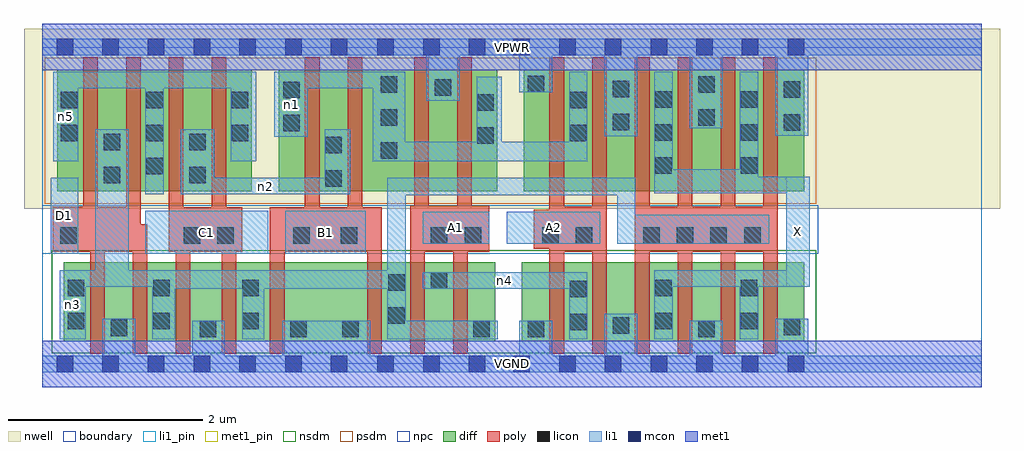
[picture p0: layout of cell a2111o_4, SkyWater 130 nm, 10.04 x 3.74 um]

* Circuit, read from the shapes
.subckt a2111o_4 A1 A2 B1 C1 D1 VGND VPWR X n1 n2 n3 n4 n5
XM1 VGND D1 n3 VSUBS sky130_fd_pr__nfet_01v8 w=0.81 l=0.15 m=2
XM2 VGND C1 n3 VSUBS sky130_fd_pr__nfet_01v8 w=0.81 l=0.15 m=2
XM3 VGND B1 n3 VSUBS sky130_fd_pr__nfet_01v8 w=0.81 l=0.15 m=2
XM4 n4 A1 n3 VSUBS sky130_fd_pr__nfet_01v8 w=0.81 l=0.15 m=2
XM5 n4 A2 VGND VSUBS sky130_fd_pr__nfet_01v8 w=0.81 l=0.15 m=2
XM6 X n3 VGND VSUBS sky130_fd_pr__nfet_01v8 w=0.81 l=0.15 m=4
XM7 n3 D1 n5 n6 sky130_fd_pr__pfet_01v8 w=1.25 l=0.15 m=2
XM8 n2 C1 n5 n6 sky130_fd_pr__pfet_01v8 w=1.25 l=0.15 m=2
XM9 n2 B1 n1 n6 sky130_fd_pr__pfet_01v8 w=1.25 l=0.15 m=2
XM10 VPWR A1 n1 n6 sky130_fd_pr__pfet_01v8 w=1.25 l=0.15 m=2
XM11 n1 A2 VPWR n6 sky130_fd_pr__pfet_01v8 w=1.25 l=0.15 m=2
XM12 X n3 VPWR n6 sky130_fd_pr__pfet_01v8 w=1.25 l=0.15 m=4
.ends

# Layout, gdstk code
import gdstk
lib = gdstk.Library(unit=1e-6, precision=1e-09)
def R(c, l, rs):  # rectangles x0, y0, x1, y1
    for r in rs: c.add(gdstk.rectangle(r[:2], r[2:], *l))
def A(c, l, x, y, w, h, nx, ny, dx, dy):  # array of equal rectangles
    R(c, l, [(x+i*dx, y+j*dy, x+i*dx+w, y+j*dy+h) for i in range(nx) for j in range(ny)])
nwell = (64, 20)
diff = (65, 20)
poly = (66, 20)
licon = (66, 44)
li1_pin = (67, 16)
li1 = (67, 20)
mcon = (67, 44)
met1_pin = (68, 16)
met1 = (68, 20)
nsdm = (93, 44)
psdm = (94, 20)
npc = (95, 20)
boundary = (235, 4)

a2111o_4 = lib.new_cell('a2111o_4')
R(a2111o_4, nwell, [(-0.19,1.595,9.85,3.45), (0,1.595,9.66,3.45)])
R(a2111o_4, diff, [(0.22,0.235,4.66,1.045), (4.93,0.235,7.835,1.045), (0.15,1.775,2.155,3.025), (2.43,1.775,4.68,3.025), (4.95,1.775,7.835,3.025)])
A(a2111o_4, poly, 5.215, 0.105, 0.15, 3.05, 6, 1, 0.44, 0)
A(a2111o_4, poly, 0.42, 1.155, 0.15, 2, 4, 1, 0.44, 0)
R(a2111o_4, poly, [(0.49,0.105,0.64,1.615), (0.93,0.105,1.08,1.435), (1.37,0.105,1.52,1.61), (1.845,0.105,1.995,1.61), (2.34,0.105,2.49,1.61), (3.34,0.105,3.49,1.61), (3.785,0.105,3.935,1.625), (4.225,0.105,4.375,1.625), (0.105,1.155,1.01,1.615), (1.3,1.155,2.055,1.61), (2.34,1.155,3.49,1.61), (2.7,1.155,2.85,3.155), (3.14,1.155,3.29,3.155), (3.785,1.155,4.595,1.625), (3.825,1.155,3.975,3.155), (4.265,1.155,4.415,3.155), (5.215,1.155,5.805,1.615), (6.095,1.155,7.565,1.615), (5.055,1.185,5.805,1.585)])
A(a2111o_4, licon, 6.18, 1.235, 0.17, 0.17, 3, 1, 0.345, 0)
A(a2111o_4, licon, 1.07, 1.95, 0.17, 0.17, 1, 3, 0, 0.34)
A(a2111o_4, licon, 6.305, 1.955, 0.17, 0.17, 1, 3, 0, 0.34)
A(a2111o_4, licon, 7.185, 1.955, 0.17, 0.17, 1, 3, 0, 0.34)
A(a2111o_4, licon, 3.48, 2.11, 0.17, 0.17, 1, 3, 0, 0.34)
R(a2111o_4, licon, [(1.62,0.275,1.79,0.445), (2.55,0.275,2.72,0.445), (3.085,0.275,3.255,0.445), (4.43,0.275,4.6,0.445), (4.99,0.275,5.16,0.445), (6.745,0.275,6.915,0.445), (0.7,0.285,0.87,0.455), (7.625,0.295,7.795,0.465), (5.865,0.31,6.035,0.48), (5.425,0.345,5.595,0.515), (0.26,0.355,0.43,0.525), (1.14,0.355,1.31,0.525), (2.055,0.355,2.225,0.525), (6.305,0.355,6.475,0.525), (7.185,0.355,7.355,0.525), (3.555,0.415,3.725,0.585), (5.425,0.685,5.595,0.855), (0.26,0.695,0.43,0.865), (1.14,0.695,1.31,0.865), (2.055,0.695,2.225,0.865), (6.305,0.695,6.475,0.865), (7.185,0.695,7.355,0.865), (3.555,0.755,3.725,0.925), (3.995,0.775,4.165,0.945), (0.185,1.235,0.355,1.405), (1.455,1.235,1.625,1.405), (1.8,1.235,1.97,1.405), (2.58,1.235,2.75,1.405), (3.07,1.235,3.24,1.405), (3.995,1.235,4.165,1.405), (4.345,1.235,4.515,1.405), (5.14,1.235,5.31,1.405), (5.485,1.235,5.655,1.405), (7.22,1.235,7.39,1.405), (2.91,1.825,3.08,1.995), (0.63,1.86,0.8,2.03), (1.51,1.86,1.68,2.03), (2.91,2.165,3.08,2.335), (0.63,2.2,0.8,2.37), (1.51,2.2,1.68,2.37), (4.47,2.265,4.64,2.435), (0.19,2.29,0.36,2.46), (1.945,2.29,2.115,2.46), (5.425,2.29,5.595,2.46), (2.475,2.395,2.645,2.565), (7.625,2.4,7.795,2.57), (5.865,2.405,6.035,2.575), (6.745,2.45,6.915,2.62), (4.47,2.605,4.64,2.775), (0.19,2.63,0.36,2.8), (1.945,2.63,2.115,2.8), (5.425,2.63,5.595,2.8), (2.475,2.735,2.645,2.905), (7.625,2.74,7.795,2.91), (5.865,2.745,6.035,2.915), (4.035,2.76,4.205,2.93), (6.745,2.79,6.915,2.96), (4.99,2.795,5.16,2.965)])
R(a2111o_4, li1_pin, [(7.65,0.795,7.895,1.925), (0.085,1.135,0.37,1.915), (1.055,1.135,2.32,1.575), (2.5,1.135,3.325,1.575), (3.91,1.235,4.595,1.565), (4.775,1.235,5.74,1.565)])
R(a2111o_4, li1, [(0,-0.085,9.66,0.085), (0.615,-0.085,0.955,0.465), (1.54,-0.085,1.875,0.445), (2.465,-0.085,3.37,0.445), (4.905,-0.085,5.245,0.445), (5.78,-0.085,6.12,0.515), (6.66,-0.085,7,0.445), (7.54,-0.085,7.875,0.465), (0.18,0.255,0.445,0.965), (1.13,0.255,1.365,0.965), (2.055,0.255,2.28,0.965), (3.545,0.255,4.685,0.445), (3.545,0.255,3.735,1.915), (5.42,0.255,5.605,0.945), (6.295,0.255,6.485,0.965), (7.175,0.255,7.365,0.965), (1.13,0.775,3.735,0.965), (3.91,0.775,5.605,0.945), (0.18,0.795,3.735,0.965), (0.545,0.795,0.885,2.415), (6.295,0.795,7.895,0.965), (7.65,0.795,7.895,1.925), (0.085,1.135,0.37,1.915), (1.055,1.135,2.32,1.575), (2.5,1.135,3.325,1.575), (3.91,1.235,4.595,1.565), (4.775,1.235,5.74,1.565), (5.915,1.235,7.475,1.535), (5.915,1.235,6.1,1.915), (3.545,1.735,6.1,1.915), (1.055,1.745,1.25,3.005), (1.425,1.745,3.165,1.915), (1.425,1.745,1.765,2.415), (2.905,1.745,3.165,2.415), (6.295,1.755,7.895,1.925), (6.295,1.755,6.485,3.005), (6.295,1.755,7.365,2.005), (7.175,1.755,7.365,3.005), (0.11,2.085,0.37,3.005), (1.935,2.085,2.2,3.005), (3.395,2.085,5.605,2.285), (3.395,2.085,3.73,3.005), (4.465,2.085,4.725,2.955), (5.42,2.085,5.605,3.005), (2.385,2.335,2.73,3.005), (5.78,2.34,6.12,3.345), (7.54,2.345,7.875,3.345), (6.66,2.425,7,3.345), (3.95,2.705,4.29,3.345), (4.905,2.795,5.245,3.345), (0.11,2.835,2.2,3.005), (2.385,2.835,3.73,3.005), (0,3.175,9.66,3.345)])
A(a2111o_4, mcon, 0.145, -0.085, 0.17, 0.17, 7, 2, 0.47, 3.26)
A(a2111o_4, mcon, 3.445, -0.085, 0.17, 0.17, 3, 2, 0.47, 3.26)
A(a2111o_4, mcon, 4.845, -0.085, 0.17, 0.17, 7, 2, 0.47, 3.26)
R(a2111o_4, met1_pin, [(0,-0.24,9.66,0.24), (0,3.02,9.66,3.5)])
R(a2111o_4, met1, [(0,-0.24,9.66,0.24), (0,3.02,9.66,3.5)])
R(a2111o_4, nsdm, [(0.095,0.11,7.96,1.17)])
R(a2111o_4, psdm, [(0.025,1.65,7.96,3.15)])
R(a2111o_4, npc, [(0,1.135,7.98,1.635)])
R(a2111o_4, boundary, [(0,0,9.66,3.26)])
a2111o_4.add(gdstk.Label('A1', (4.252,1.4), layer=67, texttype=5))
a2111o_4.add(gdstk.Label('A2', (5.257,1.4), layer=67, texttype=5))
a2111o_4.add(gdstk.Label('B1', (2.912,1.355), layer=67, texttype=5))
a2111o_4.add(gdstk.Label('C1', (1.687,1.355), layer=67, texttype=5))
a2111o_4.add(gdstk.Label('D1', (0.227,1.525), layer=67, texttype=5))
a2111o_4.add(gdstk.Label('X', (7.772,1.36), layer=67, texttype=5))
a2111o_4.add(gdstk.Label('n4', (4.757,0.86), layer=67, texttype=5))
a2111o_4.add(gdstk.Label('n3', (0.312,0.61), layer=67, texttype=5))
a2111o_4.add(gdstk.Label('n2', (2.295,1.83), layer=67, texttype=5))
a2111o_4.add(gdstk.Label('n5', (0.24,2.545), layer=67, texttype=5))
a2111o_4.add(gdstk.Label('n1', (2.557,2.67), layer=67, texttype=5))
a2111o_4.add(gdstk.Label('VPWR', (4.83,3.26), layer=68, texttype=5))
a2111o_4.add(gdstk.Label('VGND', (4.83,0), layer=68, texttype=5))
a2111o_4.add(gdstk.Label('A1', (4.252,1.4), layer=67, texttype=16))
a2111o_4.add(gdstk.Label('A2', (5.257,1.4), layer=67, texttype=16))
a2111o_4.add(gdstk.Label('B1', (2.912,1.355), layer=67, texttype=16))
a2111o_4.add(gdstk.Label('C1', (1.687,1.355), layer=67, texttype=16))
a2111o_4.add(gdstk.Label('D1', (0.227,1.525), layer=67, texttype=16))
a2111o_4.add(gdstk.Label('X', (7.772,1.36), layer=67, texttype=16))
a2111o_4.add(gdstk.Label('VPWR', (4.83,3.26), layer=68, texttype=16))
a2111o_4.add(gdstk.Label('VGND', (4.83,0), layer=68, texttype=16))

lib.write_gds('a2111o_4.gds')
